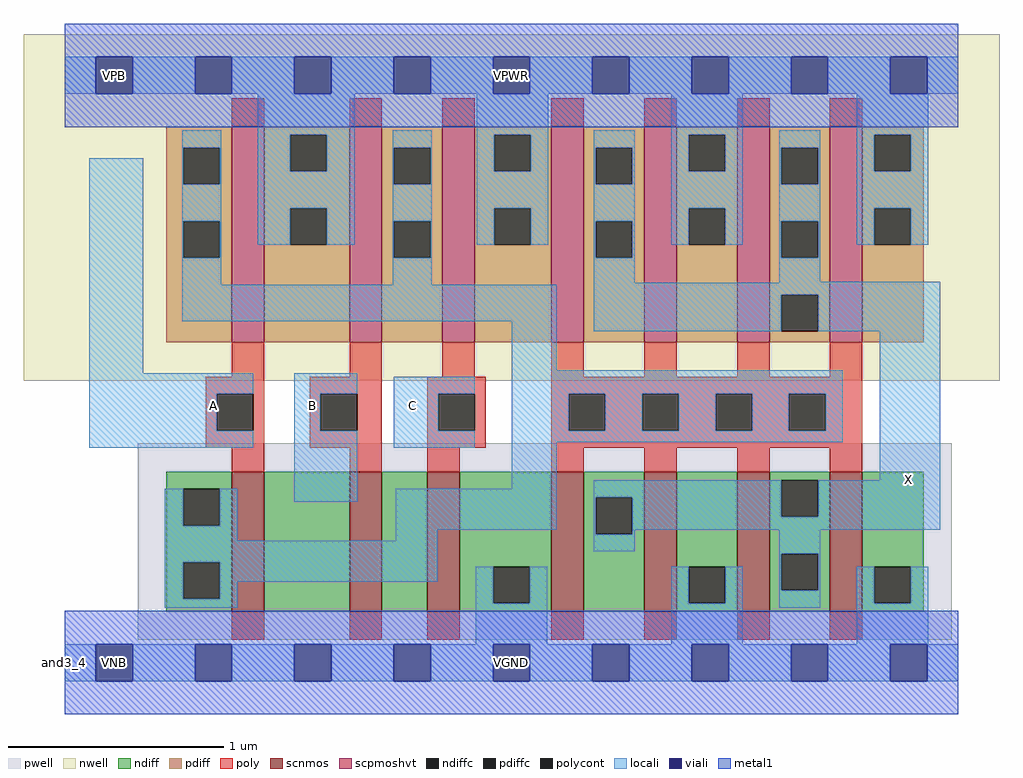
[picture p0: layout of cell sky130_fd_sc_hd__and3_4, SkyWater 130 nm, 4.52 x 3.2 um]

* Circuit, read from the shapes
.subckt sky130_fd_sc_hd__and3_4 A B C VGND VNB VPB VPWR X
XM1 n1 A n2 VNB sky130_fd_pr__nfet_01v8 w=0.65 l=0.15
XM2 n3 B n1 VNB sky130_fd_pr__nfet_01v8 w=0.65 l=0.15
XM3 VGND C n3 VNB sky130_fd_pr__nfet_01v8 w=0.65 l=0.15
XM4 X n2 VGND VNB sky130_fd_pr__nfet_01v8 w=0.65 l=0.15 m=4
XM5 VPWR A n2 VPB sky130_fd_pr__pfet_01v8_hvt w=1 l=0.15
XM6 n2 B VPWR VPB sky130_fd_pr__pfet_01v8_hvt w=1 l=0.15
XM7 VPWR C n2 VPB sky130_fd_pr__pfet_01v8_hvt w=1 l=0.15
XM8 X n2 VPWR VPB sky130_fd_pr__pfet_01v8_hvt w=1 l=0.15 m=4
.ends

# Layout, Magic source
magic
tech sky130A
magscale 1 2
<< nwell >>
rect -38 261 866 582
<< pwell >>
rect 68 21 822 203
rect 29 -17 63 17
<< scnmos >>
rect 155 47 185 177
rect 264 47 294 177
rect 336 47 366 177
rect 451 47 481 177
rect 537 47 567 177
rect 623 47 653 177
rect 709 47 739 177
<< scpmoshvt >>
rect 155 297 185 497
rect 264 297 294 497
rect 350 297 380 497
rect 451 297 481 497
rect 537 297 567 497
rect 623 297 653 497
rect 709 297 739 497
<< ndiff >>
rect 94 161 155 177
rect 94 127 110 161
rect 144 127 155 161
rect 94 93 155 127
rect 94 59 110 93
rect 144 59 155 93
rect 94 47 155 59
rect 185 47 264 177
rect 294 47 336 177
rect 366 89 451 177
rect 366 55 397 89
rect 431 55 451 89
rect 366 47 451 55
rect 481 153 537 177
rect 481 119 492 153
rect 526 119 537 153
rect 481 47 537 119
rect 567 89 623 177
rect 567 55 578 89
rect 612 55 623 89
rect 567 47 623 55
rect 653 169 709 177
rect 653 135 664 169
rect 698 135 709 169
rect 653 101 709 135
rect 653 67 664 101
rect 698 67 709 101
rect 653 47 709 67
rect 739 89 796 177
rect 739 55 750 89
rect 784 55 796 89
rect 739 47 796 55
<< pdiff >>
rect 94 477 155 497
rect 94 443 110 477
rect 144 443 155 477
rect 94 409 155 443
rect 94 375 110 409
rect 144 375 155 409
rect 94 297 155 375
rect 185 489 264 497
rect 185 455 209 489
rect 243 455 264 489
rect 185 421 264 455
rect 185 387 209 421
rect 243 387 264 421
rect 185 297 264 387
rect 294 477 350 497
rect 294 443 305 477
rect 339 443 350 477
rect 294 409 350 443
rect 294 375 305 409
rect 339 375 350 409
rect 294 297 350 375
rect 380 489 451 497
rect 380 455 398 489
rect 432 455 451 489
rect 380 421 451 455
rect 380 387 398 421
rect 432 387 451 421
rect 380 297 451 387
rect 481 477 537 497
rect 481 443 492 477
rect 526 443 537 477
rect 481 409 537 443
rect 481 375 492 409
rect 526 375 537 409
rect 481 297 537 375
rect 567 489 623 497
rect 567 455 578 489
rect 612 455 623 489
rect 567 421 623 455
rect 567 387 578 421
rect 612 387 623 421
rect 567 297 623 387
rect 653 477 709 497
rect 653 443 664 477
rect 698 443 709 477
rect 653 409 709 443
rect 653 375 664 409
rect 698 375 709 409
rect 653 341 709 375
rect 653 307 664 341
rect 698 307 709 341
rect 653 297 709 307
rect 739 489 796 497
rect 739 455 750 489
rect 784 455 796 489
rect 739 421 796 455
rect 739 387 750 421
rect 784 387 796 421
rect 739 297 796 387
<< ndiffc >>
rect 110 127 144 161
rect 110 59 144 93
rect 397 55 431 89
rect 492 119 526 153
rect 578 55 612 89
rect 664 135 698 169
rect 664 67 698 101
rect 750 55 784 89
<< pdiffc >>
rect 110 443 144 477
rect 110 375 144 409
rect 209 455 243 489
rect 209 387 243 421
rect 305 443 339 477
rect 305 375 339 409
rect 398 455 432 489
rect 398 387 432 421
rect 492 443 526 477
rect 492 375 526 409
rect 578 455 612 489
rect 578 387 612 421
rect 664 443 698 477
rect 664 375 698 409
rect 664 307 698 341
rect 750 455 784 489
rect 750 387 784 421
<< poly >>
rect 155 497 185 523
rect 264 497 294 523
rect 350 497 380 523
rect 451 497 481 523
rect 537 497 567 523
rect 623 497 653 523
rect 709 497 739 523
rect 155 265 185 297
rect 264 265 294 297
rect 350 265 380 297
rect 451 265 481 297
rect 537 265 567 297
rect 623 265 653 297
rect 709 265 739 297
rect 131 249 185 265
rect 131 215 141 249
rect 175 215 185 249
rect 131 199 185 215
rect 227 249 294 265
rect 227 215 237 249
rect 271 215 294 249
rect 227 199 294 215
rect 155 177 185 199
rect 264 177 294 199
rect 336 249 390 265
rect 336 215 346 249
rect 380 215 390 249
rect 336 199 390 215
rect 451 249 739 265
rect 451 215 467 249
rect 501 215 535 249
rect 569 215 603 249
rect 637 215 671 249
rect 705 215 739 249
rect 451 199 739 215
rect 336 177 366 199
rect 451 177 481 199
rect 537 177 567 199
rect 623 177 653 199
rect 709 177 739 199
rect 155 21 185 47
rect 264 21 294 47
rect 336 21 366 47
rect 451 21 481 47
rect 537 21 567 47
rect 623 21 653 47
rect 709 21 739 47
<< polycont >>
rect 141 215 175 249
rect 237 215 271 249
rect 346 215 380 249
rect 467 215 501 249
rect 535 215 569 249
rect 603 215 637 249
rect 671 215 705 249
<< locali >>
rect 0 527 29 561
rect 63 527 121 561
rect 155 527 213 561
rect 247 527 305 561
rect 339 527 397 561
rect 431 527 489 561
rect 523 527 581 561
rect 615 527 673 561
rect 707 527 765 561
rect 799 527 828 561
rect 109 477 145 493
rect 23 268 73 467
rect 109 443 110 477
rect 144 443 145 477
rect 109 409 145 443
rect 109 375 110 409
rect 144 375 145 409
rect 179 489 269 527
rect 179 455 209 489
rect 243 455 269 489
rect 179 421 269 455
rect 179 387 209 421
rect 243 387 269 421
rect 304 477 340 493
rect 304 443 305 477
rect 339 443 340 477
rect 304 409 340 443
rect 109 350 145 375
rect 304 375 305 409
rect 339 375 340 409
rect 382 489 448 527
rect 382 455 398 489
rect 432 455 448 489
rect 382 421 448 455
rect 382 387 398 421
rect 432 387 448 421
rect 490 477 528 493
rect 490 443 492 477
rect 526 443 528 477
rect 490 409 528 443
rect 304 350 340 375
rect 490 375 492 409
rect 526 375 528 409
rect 562 489 628 527
rect 562 455 578 489
rect 612 455 628 489
rect 562 421 628 455
rect 562 387 578 421
rect 612 387 628 421
rect 662 477 700 493
rect 662 443 664 477
rect 698 443 700 477
rect 662 409 700 443
rect 490 352 528 375
rect 662 375 664 409
rect 698 375 700 409
rect 734 489 800 527
rect 734 455 750 489
rect 784 455 800 489
rect 734 421 800 455
rect 734 387 750 421
rect 784 387 800 421
rect 662 353 700 375
rect 662 352 811 353
rect 109 316 456 350
rect 414 271 456 316
rect 490 341 811 352
rect 490 307 664 341
rect 698 307 811 341
rect 23 249 175 268
rect 23 215 141 249
rect 23 199 175 215
rect 213 249 271 268
rect 213 215 237 249
rect 93 127 110 161
rect 144 127 160 161
rect 213 149 271 215
rect 305 249 380 265
rect 305 215 346 249
rect 305 199 380 215
rect 414 249 721 271
rect 414 215 467 249
rect 501 215 535 249
rect 569 215 603 249
rect 637 215 671 249
rect 705 215 721 249
rect 414 204 721 215
rect 414 161 456 204
rect 755 169 811 307
rect 93 113 160 127
rect 307 123 456 161
rect 490 153 664 169
rect 307 113 345 123
rect 93 93 345 113
rect 490 119 492 153
rect 526 135 664 153
rect 698 135 811 169
rect 526 123 811 135
rect 526 119 528 123
rect 490 103 528 119
rect 93 59 110 93
rect 144 75 345 93
rect 662 101 700 123
rect 144 59 160 75
rect 93 51 160 59
rect 381 55 397 89
rect 431 55 447 89
rect 381 17 447 55
rect 562 55 578 89
rect 612 55 628 89
rect 562 17 628 55
rect 662 67 664 101
rect 698 67 700 101
rect 662 51 700 67
rect 734 55 750 89
rect 784 55 800 89
rect 734 17 800 55
rect 0 -17 29 17
rect 63 -17 121 17
rect 155 -17 213 17
rect 247 -17 305 17
rect 339 -17 397 17
rect 431 -17 489 17
rect 523 -17 581 17
rect 615 -17 673 17
rect 707 -17 765 17
rect 799 -17 828 17
<< viali >>
rect 29 527 63 561
rect 121 527 155 561
rect 213 527 247 561
rect 305 527 339 561
rect 397 527 431 561
rect 489 527 523 561
rect 581 527 615 561
rect 673 527 707 561
rect 765 527 799 561
rect 29 -17 63 17
rect 121 -17 155 17
rect 213 -17 247 17
rect 305 -17 339 17
rect 397 -17 431 17
rect 489 -17 523 17
rect 581 -17 615 17
rect 673 -17 707 17
rect 765 -17 799 17
<< metal1 >>
rect 0 561 828 592
rect 0 527 29 561
rect 63 527 121 561
rect 155 527 213 561
rect 247 527 305 561
rect 339 527 397 561
rect 431 527 489 561
rect 523 527 581 561
rect 615 527 673 561
rect 707 527 765 561
rect 799 527 828 561
rect 0 496 828 527
rect 0 17 828 48
rect 0 -17 29 17
rect 63 -17 121 17
rect 155 -17 213 17
rect 247 -17 305 17
rect 339 -17 397 17
rect 431 -17 489 17
rect 523 -17 581 17
rect 615 -17 673 17
rect 707 -17 765 17
rect 799 -17 828 17
rect 0 -48 828 -17
<< labels >>
flabel locali s 121 221 155 255 0 FreeSans 340 0 0 0 A
port 1 nsew signal input
flabel locali s 213 221 247 255 0 FreeSans 340 0 0 0 B
port 2 nsew signal input
flabel locali s 305 221 339 255 0 FreeSans 340 0 0 0 C
port 3 nsew signal input
flabel locali s 765 153 799 187 0 FreeSans 340 0 0 0 X
port 8 nsew signal output
flabel pwell s 29 -17 63 17 0 FreeSans 200 0 0 0 VNB
port 5 nsew ground bidirectional
flabel nwell s 29 527 63 561 0 FreeSans 200 0 0 0 VPB
port 6 nsew power bidirectional
flabel metal1 s 29 -17 63 17 0 FreeSans 200 0 0 0 VGND
port 4 nsew ground bidirectional abutment
flabel metal1 s 29 527 63 561 0 FreeSans 200 0 0 0 VPWR
port 7 nsew power bidirectional abutment
rlabel comment s 0 0 0 0 4 and3_4
rlabel metal1 s 0 -48 828 48 1 VGND
port 4 nsew ground bidirectional abutment
rlabel metal1 s 0 496 828 592 1 VPWR
port 7 nsew power bidirectional abutment
<< properties >>
string FIXED_BBOX 0 0 828 544
string GDS_END 3845842
string GDS_FILE $PDKPATH/libs.ref/sky130_fd_sc_hd/gds/sky130_fd_sc_hd.gds
string GDS_START 3839006
string LEFclass CORE
string LEFsite unithd
string LEFsymmetry X Y R90
string path 0.000 0.000 20.700 0.000 
<< end >>
